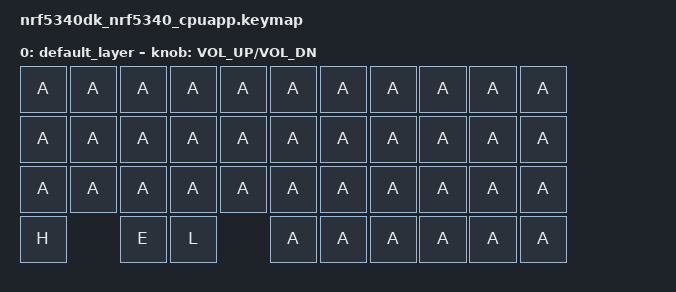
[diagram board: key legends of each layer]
#include <behaviors.dtsi>
#include <dt-bindings/zmk/keys.h>
#include <dt-bindings/zmk/bt.h>

/ {
    keymap {
        compatible = "zmk,keymap";

        default_layer {
            bindings = <
    /* Rad 0-2 (Dessa finns inte fysiskt än, vi fyller med 'A') */
    &kp A &kp A &kp A &kp A &kp A &kp A &kp A &kp A &kp A &kp A &kp A
    &kp A &kp A &kp A &kp A &kp A &kp A &kp A &kp A &kp A &kp A &kp A
    &kp A &kp A &kp A &kp A &kp A &kp A &kp A &kp A &kp A &kp A &kp A

    /* RAD 3 - DINA TESTKNAPPAR */
    /* Macro 1, Macro 2, Encoder Click, (Resten av tummarna är 'A') */
    &kp H     &kp E     &kp L        &kp A &kp A &kp A &kp A &kp A &kp A
            >;

            sensor-bindings = <&inc_dec_kp C_VOL_UP C_VOL_DN>;
        };
    };
};
